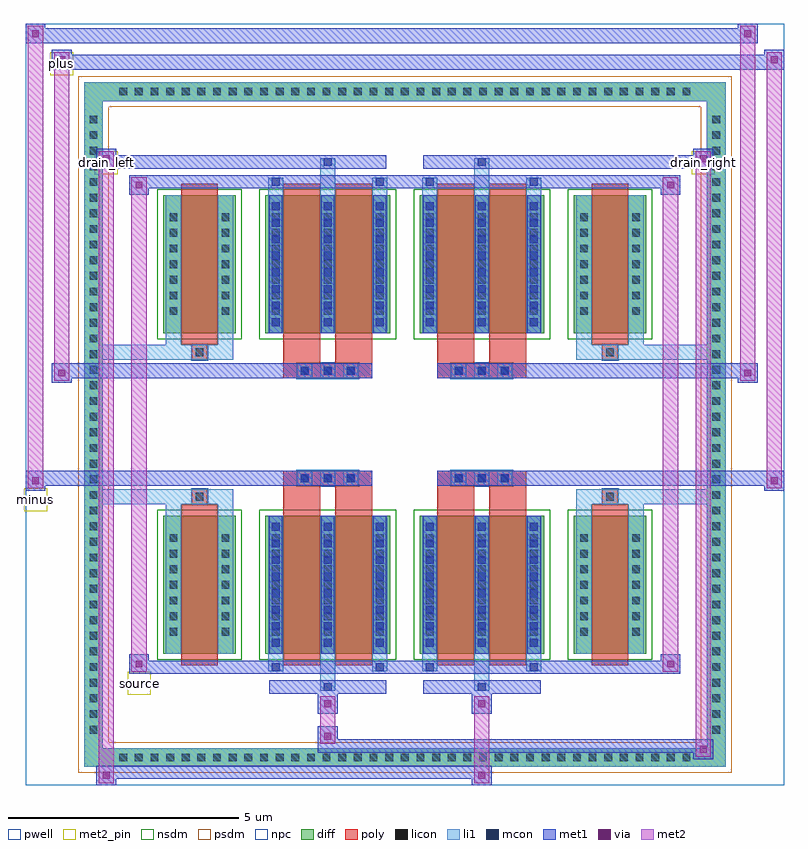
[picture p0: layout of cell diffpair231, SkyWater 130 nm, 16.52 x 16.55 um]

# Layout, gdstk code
import gdstk
lib = gdstk.Library(unit=1e-6, precision=5e-09)
def R(c, l, rs):  # rectangles x0, y0, x1, y1
    for r in rs: c.add(gdstk.rectangle(r[:2], r[2:], *l))
def A(c, l, x, y, w, h, nx, ny, dx, dy):  # array of equal rectangles
    R(c, l, [(x+i*dx, y+j*dy, x+i*dx+w, y+j*dy+h) for i in range(nx) for j in range(ny)])
def P(c, l, *ps):  # polygons
    for p in ps: c.add(gdstk.Polygon(p, *l))
pwell = (64, 44)
diff = (65, 20)
poly = (66, 20)
licon = (66, 44)
li1 = (67, 20)
mcon = (67, 44)
met1 = (68, 20)
via = (68, 44)
met2_pin = (69, 16)
met2 = (69, 20)
nsdm = (93, 44)
psdm = (94, 20)
npc = (95, 20)

diffpair231 = lib.new_cell('diffpair231')
R(diffpair231, pwell, [(-8.24,-7.84,8.24,8.71), (-5.56,-6.03,-0.01,-0.805), (0.01,-6.03,5.56,-0.805), (-5.56,0.805,-0.01,6.03), (0.01,0.805,5.56,6.03)])
A(diffpair231, diff, -6.325, -7.44, 0.41, 0.41, 37, 2, 0.34, 14.47)
A(diffpair231, diff, -6.97, -6.835, 0.41, 0.41, 1, 40, 0, 0.34)
A(diffpair231, diff, 6.56, -6.835, 0.41, 0.41, 1, 40, 0, 0.34)
R(diffpair231, diff, [(-6.325,-7.44,6.325,-7.03), (-6.97,-6.835,-6.56,6.835), (6.56,-6.835,6.97,6.835), (-5.25,-4.985,-3.67,-1.985), (-3.03,-4.985,-0.32,-1.985), (0.32,-4.985,3.03,-1.985), (3.67,-4.985,5.25,-1.985), (-5.25,1.985,-3.67,4.985), (-3.03,1.985,-0.32,4.985), (0.32,1.985,3.03,4.985), (3.67,1.985,5.25,4.985), (-6.325,7.03,6.325,7.44)])
P(diffpair231, diff, [(6.97,7.44),(-6.97,7.44),(-6.97,-7.03),(-6.56,-7.03),(-6.56,7.03),(6.56,7.03),(6.56,-7.03),(-6.56,-7.03),(-6.97,-7.03),(-6.97,-7.44),(6.97,-7.44)])
A(diffpair231, poly, -2.34, -1.335, 0.33, 0.33, 3, 2, 0.5, 2.34)
A(diffpair231, poly, 1.01, -1.335, 0.33, 0.33, 3, 2, 0.5, 2.34)
R(diffpair231, poly, [(-4.86,-5.235,-4.06,-1.735), (-2.64,-5.235,-1.84,-1.735), (-1.51,-5.235,-0.71,-1.735), (0.71,-5.235,1.51,-1.735), (1.84,-5.235,2.64,-1.735), (4.06,-5.235,4.86,-1.735), (-4.625,-1.735,-4.295,-1.405), (-4.625,-1.735,-4.295,-1.405), (-2.64,-1.735,-1.84,-1.335), (-1.51,-1.735,-0.71,-1.335), (0.71,-1.735,1.51,-1.335), (1.84,-1.735,2.64,-1.335), (4.295,-1.735,4.625,-1.405), (4.295,-1.735,4.625,-1.405), (-2.64,-1.335,-0.71,-1.005), (0.71,-1.335,2.64,-1.005), (-2.64,1.005,-0.71,1.335), (0.71,1.005,2.64,1.335), (-2.64,1.335,-1.84,1.735), (-1.51,1.335,-0.71,1.735), (0.71,1.335,1.51,1.735), (1.84,1.335,2.64,1.735), (-4.625,1.405,-4.295,1.735), (-4.625,1.405,-4.295,1.735), (4.295,1.405,4.625,1.735), (4.295,1.405,4.625,1.735), (-4.86,1.735,-4.06,5.235), (-2.64,1.735,-1.84,5.235), (-1.51,1.735,-0.71,5.235), (0.71,1.735,1.51,5.235), (1.84,1.735,2.64,5.235), (4.06,1.735,4.86,5.235)])
A(diffpair231, licon, -6.205, -7.32, 0.17, 0.17, 37, 2, 0.34, 14.47)
A(diffpair231, licon, -6.85, -6.715, 0.17, 0.17, 1, 40, 0, 0.34)
A(diffpair231, licon, 6.68, -6.715, 0.17, 0.17, 1, 40, 0, 0.34)
A(diffpair231, licon, -5.11, -4.59, 0.17, 0.17, 1, 7, 0, 0.34)
A(diffpair231, licon, -3.98, -4.59, 0.17, 0.17, 1, 7, 0, 0.34)
A(diffpair231, licon, -2.89, -4.59, 0.17, 0.17, 3, 7, 1.13, 0.34)
A(diffpair231, licon, 0.46, -4.59, 0.17, 0.17, 3, 7, 1.13, 0.34)
A(diffpair231, licon, 3.81, -4.59, 0.17, 0.17, 1, 7, 0, 0.34)
A(diffpair231, licon, 4.94, -4.59, 0.17, 0.17, 1, 7, 0, 0.34)
A(diffpair231, licon, -2.26, -1.255, 0.17, 0.17, 3, 2, 0.5, 2.34)
A(diffpair231, licon, 1.09, -1.255, 0.17, 0.17, 3, 2, 0.5, 2.34)
A(diffpair231, licon, -5.11, 2.38, 0.17, 0.17, 1, 7, 0, 0.34)
A(diffpair231, licon, -3.98, 2.38, 0.17, 0.17, 1, 7, 0, 0.34)
A(diffpair231, licon, -2.89, 2.38, 0.17, 0.17, 3, 7, 1.13, 0.34)
A(diffpair231, licon, 0.46, 2.38, 0.17, 0.17, 3, 7, 1.13, 0.34)
A(diffpair231, licon, 3.81, 2.38, 0.17, 0.17, 1, 7, 0, 0.34)
A(diffpair231, licon, 4.94, 2.38, 0.17, 0.17, 1, 7, 0, 0.34)
R(diffpair231, licon, [(-4.545,-1.655,-4.375,-1.485), (4.375,-1.655,4.545,-1.485), (-4.545,1.485,-4.375,1.655), (4.375,1.485,4.545,1.655)])
A(diffpair231, li1, -6.285, -7.4, 0.33, 0.33, 37, 2, 0.34, 14.47)
A(diffpair231, li1, -6.93, -6.795, 0.33, 0.33, 1, 40, 0, 0.34)
A(diffpair231, li1, 6.6, -6.795, 0.33, 0.33, 1, 40, 0, 0.34)
A(diffpair231, li1, -2.97, -4.985, 0.33, 3, 3, 2, 1.13, 6.97)
A(diffpair231, li1, 0.38, -4.985, 0.33, 3, 3, 2, 1.13, 6.97)
A(diffpair231, li1, -2.89, -4.83, 0.17, 0.17, 3, 8, 1.13, 0.36)
A(diffpair231, li1, -2.89, -4.83, 0.17, 2.69, 3, 2, 1.13, 6.97)
A(diffpair231, li1, 0.46, -4.83, 0.17, 0.17, 3, 8, 1.13, 0.36)
A(diffpair231, li1, 0.46, -4.83, 0.17, 2.69, 3, 2, 1.13, 6.97)
A(diffpair231, li1, -5.19, -4.67, 0.33, 0.33, 1, 7, 0, 0.34)
A(diffpair231, li1, -4.06, -4.67, 0.33, 0.33, 1, 7, 0, 0.34)
A(diffpair231, li1, -2.97, -4.67, 0.33, 0.33, 3, 7, 1.13, 0.34)
A(diffpair231, li1, 0.38, -4.67, 0.33, 0.33, 3, 7, 1.13, 0.34)
A(diffpair231, li1, 3.73, -4.67, 0.33, 0.33, 1, 7, 0, 0.34)
A(diffpair231, li1, 4.86, -4.67, 0.33, 0.33, 1, 7, 0, 0.34)
A(diffpair231, li1, -2.34, -1.335, 0.33, 0.33, 3, 2, 0.5, 2.34)
A(diffpair231, li1, 1.01, -1.335, 0.33, 0.33, 3, 2, 0.5, 2.34)
A(diffpair231, li1, -2.89, 2.14, 0.17, 0.17, 3, 8, 1.13, 0.36)
A(diffpair231, li1, 0.46, 2.14, 0.17, 0.17, 3, 8, 1.13, 0.36)
A(diffpair231, li1, -5.19, 2.3, 0.33, 0.33, 1, 7, 0, 0.34)
A(diffpair231, li1, -4.06, 2.3, 0.33, 0.33, 1, 7, 0, 0.34)
A(diffpair231, li1, -2.97, 2.3, 0.33, 0.33, 3, 7, 1.13, 0.34)
A(diffpair231, li1, 0.38, 2.3, 0.33, 0.33, 3, 7, 1.13, 0.34)
A(diffpair231, li1, 3.73, 2.3, 0.33, 0.33, 1, 7, 0, 0.34)
A(diffpair231, li1, 4.86, 2.3, 0.33, 0.33, 1, 7, 0, 0.34)
R(diffpair231, li1, [(-6.97,-7.44,-6.56,-7.03), (-6.97,-7.44,-6.56,-7.03), (-6.56,-7.44,6.56,-7.03), (6.56,-7.44,6.97,-7.03), (6.56,-7.44,6.97,-7.03), (-6.97,-7.03,-6.56,7.03), (6.56,-7.03,6.97,7.03), (-1.84,-5.79,-1.51,-4.985), (-1.76,-5.79,-1.59,-5.62), (1.51,-5.79,1.84,-4.985), (1.59,-5.79,1.76,-5.62), (-2.97,-5.36,-2.64,-4.985), (-2.89,-5.36,-2.72,-5.19), (-0.71,-5.36,-0.38,-4.985), (-0.63,-5.36,-0.46,-5.19), (0.38,-5.36,0.71,-4.985), (0.46,-5.36,0.63,-5.19), (2.64,-5.36,2.97,-4.985), (2.72,-5.36,2.89,-5.19), (-5.19,-4.985,-4.86,-1.985), (-4.06,-4.985,-3.73,-1.985), (3.73,-4.985,4.06,-1.985), (4.86,-4.985,5.19,-1.985), (-5.19,-1.985,-4.86,-1.405), (-4.06,-1.985,-3.73,-1.405), (3.73,-1.985,4.06,-1.405), (4.86,-1.985,5.19,-1.405), (-6.97,-1.735,-4.625,-1.405), (-5.19,-1.735,-4.625,-1.405), (-4.625,-1.735,-4.295,-1.405), (-4.295,-1.735,-3.73,-1.405), (3.73,-1.735,4.295,-1.405), (4.295,-1.735,4.625,-1.405), (4.295,-1.735,6.97,-1.405), (4.625,-1.735,5.19,-1.405), (-6.97,1.405,-4.625,1.735), (-5.19,1.405,-4.625,1.735), (-5.19,1.405,-4.86,1.985), (-4.625,1.405,-4.295,1.735), (-4.295,1.405,-3.73,1.735), (-4.06,1.405,-3.73,1.985), (3.73,1.405,4.295,1.735), (3.73,1.405,4.06,1.985), (4.295,1.405,4.625,1.735), (4.295,1.405,6.97,1.735), (4.625,1.405,5.19,1.735), (4.86,1.405,5.19,1.985), (-5.19,1.985,-4.86,4.985), (-4.06,1.985,-3.73,4.985), (3.73,1.985,4.06,4.985), (4.86,1.985,5.19,4.985), (-2.97,4.985,-2.64,5.36), (-1.84,4.985,-1.51,5.79), (-0.71,4.985,-0.38,5.36), (0.38,4.985,0.71,5.36), (1.51,4.985,1.84,5.79), (2.64,4.985,2.97,5.36), (-2.89,5.19,-2.72,5.36), (-0.63,5.19,-0.46,5.36), (0.46,5.19,0.63,5.36), (2.72,5.19,2.89,5.36), (-1.76,5.62,-1.59,5.79), (1.59,5.62,1.76,5.79), (-6.97,7.03,-6.56,7.44), (-6.97,7.03,-6.56,7.44), (-6.56,7.03,6.56,7.44), (6.56,7.03,6.97,7.44), (6.56,7.03,6.97,7.44)])
A(diffpair231, mcon, -2.89, -4.83, 0.17, 0.17, 3, 8, 1.13, 0.36)
A(diffpair231, mcon, 0.46, -4.83, 0.17, 0.17, 3, 8, 1.13, 0.36)
A(diffpair231, mcon, -2.26, -1.255, 0.17, 0.17, 3, 2, 0.5, 2.34)
A(diffpair231, mcon, 1.09, -1.255, 0.17, 0.17, 3, 2, 0.5, 2.34)
A(diffpair231, mcon, -2.89, 2.14, 0.17, 0.17, 3, 8, 1.13, 0.36)
A(diffpair231, mcon, 0.46, 2.14, 0.17, 0.17, 3, 8, 1.13, 0.36)
R(diffpair231, mcon, [(-1.76,-5.79,-1.59,-5.62), (1.59,-5.79,1.76,-5.62), (-2.89,-5.36,-2.72,-5.19), (-0.63,-5.36,-0.46,-5.19), (0.46,-5.36,0.63,-5.19), (2.72,-5.36,2.89,-5.19), (-2.89,5.19,-2.72,5.36), (-0.63,5.19,-0.46,5.36), (0.46,5.19,0.63,5.36), (2.72,5.19,2.89,5.36), (-1.76,5.62,-1.59,5.79), (1.59,5.62,1.76,5.79)])
A(diffpair231, met1, -2.95, -4.985, 0.29, 3, 3, 2, 1.13, 6.97)
A(diffpair231, met1, 0.4, -4.985, 0.29, 3, 3, 2, 1.13, 6.97)
A(diffpair231, met1, -2.95, -4.89, 0.29, 0.29, 3, 8, 1.13, 0.36)
A(diffpair231, met1, 0.4, -4.89, 0.29, 0.29, 3, 8, 1.13, 0.36)
A(diffpair231, met1, -2.32, -1.315, 0.29, 0.29, 3, 2, 0.5, 2.34)
A(diffpair231, met1, 1.03, -1.315, 0.29, 0.29, 3, 2, 0.5, 2.34)
A(diffpair231, met1, -2.95, 2.08, 0.29, 0.29, 3, 8, 1.13, 0.36)
A(diffpair231, met1, 0.4, 2.08, 0.29, 0.29, 3, 8, 1.13, 0.36)
R(diffpair231, met1, [(-6.7,-7.84,-6.27,-7.41), (1.46,-7.84,1.89,-7.41), (-6.7,-7.7,1.89,-7.41), (6.27,-7.27,6.7,-6.84), (-1.89,-7.13,6.7,-6.84), (-1.89,-6.99,-1.46,-6.56), (-1.89,-6.28,-1.46,-5.85), (1.46,-6.28,1.89,-5.85), (-2.95,-5.85,-0.4,-5.56), (-1.82,-5.85,-1.53,-5.56), (0.4,-5.85,2.95,-5.56), (1.53,-5.85,1.82,-5.56), (-5.99,-5.42,-5.56,-4.99), (-5.99,-5.42,-2.95,-5.13), (-2.95,-5.42,-2.66,-5.13), (-2.95,-5.42,-0.4,-5.13), (-0.69,-5.42,-0.4,-5.13), (-0.4,-5.42,0.4,-5.13), (0.4,-5.42,0.69,-5.13), (0.4,-5.42,2.95,-5.13), (2.66,-5.42,2.95,-5.13), (2.95,-5.42,5.99,-5.13), (5.56,-5.42,5.99,-4.99), (-8.24,-1.435,-7.81,-1.005), (7.81,-1.435,8.24,-1.005), (-8.24,-1.335,-0.71,-1.005), (-2.64,-1.335,-0.71,-1.005), (0.71,-1.335,2.64,-1.005), (0.71,-1.335,8.24,-1.005), (-7.67,0.905,-7.24,1.335), (7.24,0.905,7.67,1.335), (-7.67,1.005,-2.64,1.335), (-2.64,1.005,-0.71,1.335), (0.71,1.005,2.64,1.335), (2.64,1.005,7.67,1.335), (-5.99,4.99,-5.56,5.42), (5.56,4.99,5.99,5.42), (-5.99,5.13,-2.95,5.42), (-2.95,5.13,-2.66,5.42), (-2.95,5.13,-0.4,5.42), (-0.69,5.13,-0.4,5.42), (-0.4,5.13,0.4,5.42), (0.4,5.13,0.69,5.42), (0.4,5.13,2.95,5.42), (2.66,5.13,2.95,5.42), (2.95,5.13,5.99,5.42), (-6.7,5.56,-6.27,5.99), (-6.7,5.56,-2.95,5.85), (-2.95,5.56,-0.4,5.85), (-1.82,5.56,-1.53,5.85), (0.4,5.56,2.95,5.85), (1.53,5.56,1.82,5.85), (2.95,5.56,6.7,5.85), (6.27,5.56,6.7,5.99), (-7.67,7.71,-7.24,8.14), (-7.67,7.71,-5.56,8.04), (-5.56,7.71,5.56,8.04), (5.56,7.71,8.24,8.04), (7.81,7.71,8.24,8.14), (-8.24,8.28,-7.81,8.71), (-8.24,8.28,-5.56,8.61), (-5.56,8.28,5.56,8.61), (5.56,8.28,7.67,8.61), (7.24,8.28,7.67,8.71)])
R(diffpair231, via, [(-6.56,-7.7,-6.41,-7.55), (1.6,-7.7,1.75,-7.55), (6.41,-7.13,6.56,-6.98), (-1.75,-6.85,-1.6,-6.7), (-1.75,-6.14,-1.6,-5.99), (1.6,-6.14,1.75,-5.99), (-5.85,-5.28,-5.7,-5.13), (5.7,-5.28,5.85,-5.13), (-8.1,-1.295,-7.95,-1.145), (7.95,-1.295,8.1,-1.145), (-7.53,1.045,-7.38,1.195), (7.38,1.045,7.53,1.195), (-5.85,5.13,-5.7,5.28), (5.7,5.13,5.85,5.28), (-6.56,5.7,-6.41,5.85), (6.41,5.7,6.56,5.85), (-7.53,7.85,-7.38,8), (7.95,7.85,8.1,8), (-8.1,8.42,-7.95,8.57), (7.38,8.42,7.53,8.57)])
R(diffpair231, met2_pin, [(-6.025,-5.87,-5.525,-5.37), (-8.275,-1.885,-7.775,-1.385), (-6.735,5.44,-6.235,5.94), (6.235,5.44,6.735,5.94), (-7.705,7.59,-7.205,8.09)])
R(diffpair231, met2, [(-6.65,-7.79,-6.32,-7.46), (-6.65,-7.79,-6.32,5.94), (1.51,-7.79,1.84,-7.46), (1.51,-7.46,1.84,-6.23), (6.32,-7.22,6.65,-6.89), (6.32,-7.22,6.65,5.94), (-1.84,-6.94,-1.51,-6.61), (-1.84,-6.61,-1.51,-6.23), (-1.84,-6.23,-1.51,-5.9), (1.51,-6.23,1.84,-5.9), (-5.94,-5.37,-5.61,-5.04), (-5.94,-5.37,-5.61,5.37), (5.61,-5.37,5.94,-5.04), (5.61,-5.37,5.94,5.37), (-8.19,-1.385,-7.86,-1.055), (-8.19,-1.385,-7.86,8.66), (7.86,-1.385,8.19,-1.055), (7.86,-1.385,8.19,8.09), (-7.62,0.955,-7.29,1.285), (-7.62,0.955,-7.29,8.09), (7.29,0.955,7.62,1.285), (7.29,0.955,7.62,8.66), (-5.94,5.04,-5.61,5.37), (5.61,5.04,5.94,5.37), (-6.65,5.61,-6.32,5.94), (6.32,5.61,6.65,5.94), (-7.62,7.76,-7.29,8.09), (7.86,7.76,8.19,8.09), (-8.19,8.33,-7.86,8.66), (7.29,8.33,7.62,8.66)])
P(diffpair231, met2, [(8.19,-1.385),(8.19,-1.385),(8.19,-1.055),(8.19,-1.055)],
  [(8.19,7.76),(8.19,7.76),(8.19,8.09),(8.19,8.09)],
  [(-7.86,-1.385),(-7.86,-1.385),(-7.86,-1.055),(-7.86,-1.055)],
  [(-7.86,8.33),(-7.86,8.33),(-7.86,8.66),(-7.86,8.66)],
  [(7.62,0.955),(7.62,0.955),(7.62,1.285),(7.62,1.285)],
  [(7.62,8.33),(7.62,8.33),(7.62,8.66),(7.62,8.66)],
  [(-7.29,0.955),(-7.29,0.955),(-7.29,1.285),(-7.29,1.285)],
  [(-7.29,7.76),(-7.29,7.76),(-7.29,8.09),(-7.29,8.09)],
  [(-6.32,-7.79),(-6.32,-7.79),(-6.32,-7.46),(-6.32,-7.46)],
  [(-6.32,5.61),(-6.32,5.61),(-6.32,5.94),(-6.32,5.94)],
  [(6.65,-7.22),(6.65,-7.22),(6.65,-6.89),(6.65,-6.89)],
  [(6.65,5.61),(6.65,5.61),(6.65,5.94),(6.65,5.94)],
  [(-5.61,-5.37),(-5.61,-5.37),(-5.61,-5.04),(-5.61,-5.04)],
  [(-5.61,5.04),(-5.61,5.04),(-5.61,5.37),(-5.61,5.37)],
  [(5.94,-5.37),(5.94,-5.37),(5.94,-5.04),(5.94,-5.04)],
  [(5.94,5.04),(5.94,5.04),(5.94,5.37),(5.94,5.37)])
R(diffpair231, nsdm, [(-5.38,-5.115,-3.54,-1.855), (-3.16,-5.115,-0.19,-1.855), (0.19,-5.115,3.16,-1.855), (3.54,-5.115,5.38,-1.855), (-5.38,1.855,-3.54,5.115), (-3.16,1.855,-0.19,5.115), (0.19,1.855,3.16,5.115), (3.54,1.855,5.38,5.115)])
P(diffpair231, psdm, [(7.1,7.57),(-7.1,7.57),(-7.1,-6.9),(-6.43,-6.9),(-6.43,6.9),(6.43,6.9),(6.43,-6.9),(-6.43,-6.9),(-7.1,-6.9),(-7.1,-7.57),(7.1,-7.57)])
A(diffpair231, npc, -2.36, -1.355, 0.37, 0.37, 3, 2, 0.5, 2.34)
A(diffpair231, npc, 0.99, -1.355, 0.37, 0.37, 3, 2, 0.5, 2.34)
R(diffpair231, npc, [(-4.645,-1.755,-4.275,-1.385), (4.275,-1.755,4.645,-1.385), (-2.36,-1.355,-1.49,-0.985), (-2.36,-1.355,-1.49,-0.985), (-1.86,-1.355,-0.99,-0.985), (-1.86,-1.355,-0.99,-0.985), (0.99,-1.355,1.86,-0.985), (0.99,-1.355,1.86,-0.985), (1.49,-1.355,2.36,-0.985), (1.49,-1.355,2.36,-0.985), (-2.36,0.985,-1.49,1.355), (-2.36,0.985,-1.49,1.355), (-1.86,0.985,-0.99,1.355), (-1.86,0.985,-0.99,1.355), (0.99,0.985,1.86,1.355), (0.99,0.985,1.86,1.355), (1.49,0.985,2.36,1.355), (1.49,0.985,2.36,1.355), (-4.645,1.385,-4.275,1.755), (4.275,1.385,4.645,1.755)])
diffpair231.add(gdstk.Label('minus', (-8.025,-1.635), layer=69, texttype=5))
diffpair231.add(gdstk.Label('drain_right', (6.485,5.69), layer=69, texttype=5))
diffpair231.add(gdstk.Label('drain_left', (-6.485,5.69), layer=69, texttype=5))
diffpair231.add(gdstk.Label('source', (-5.775,-5.62), layer=69, texttype=5))
diffpair231.add(gdstk.Label('plus', (-7.455,7.84), layer=69, texttype=5))

lib.write_gds('diffpair231.gds')
